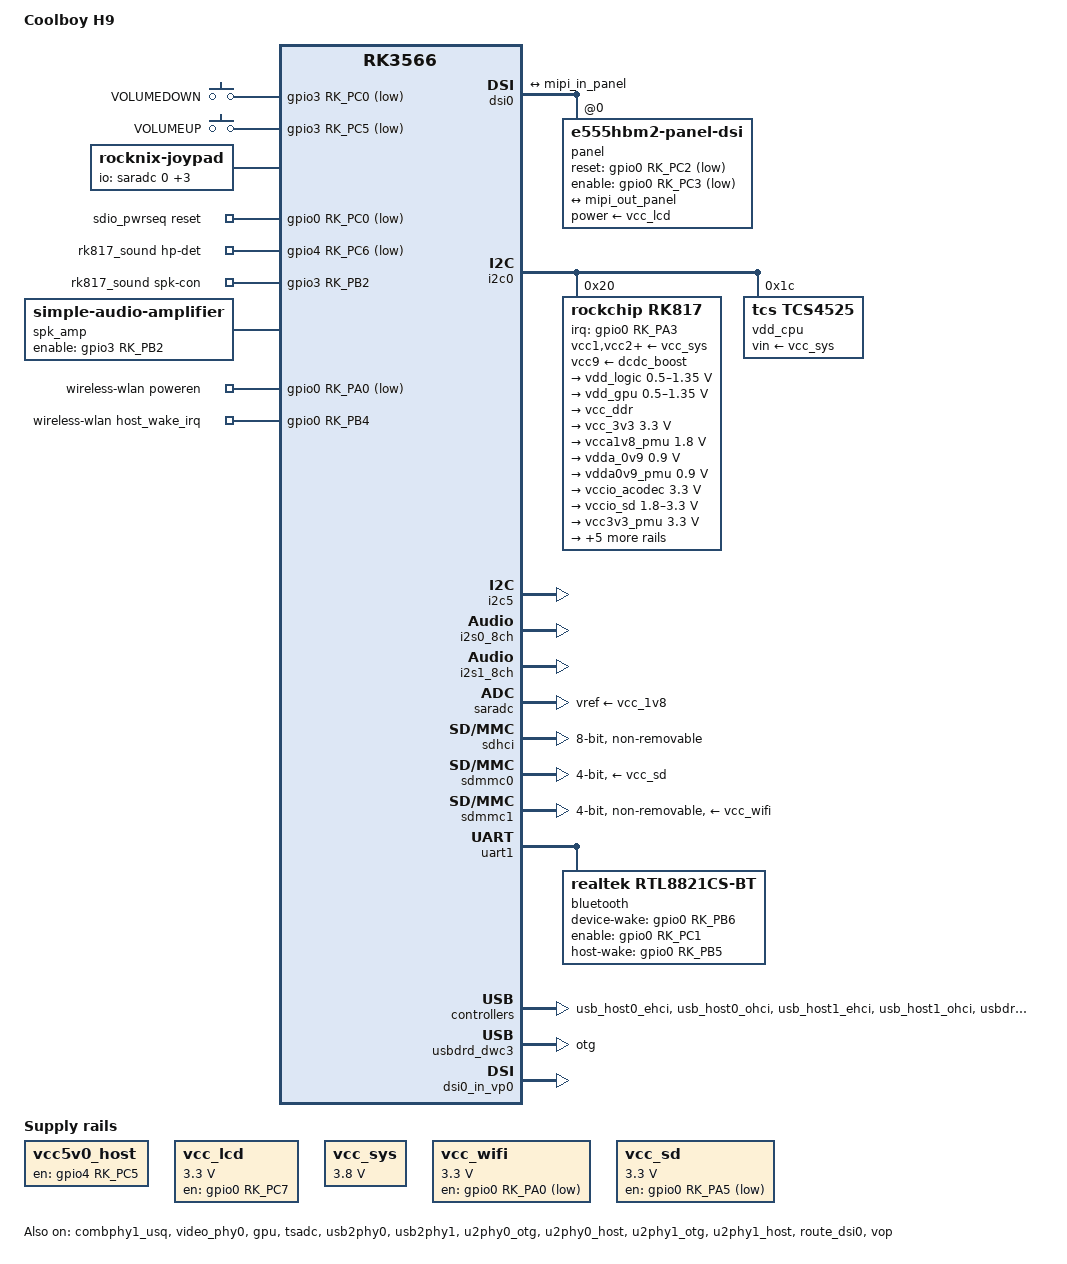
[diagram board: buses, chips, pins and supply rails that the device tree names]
// SPDX-License-Identifier: (GPL-2.0+ OR MIT)

/dts-v1/;

#include <dt-bindings/gpio/gpio.h>
#include <dt-bindings/input/input.h>
#include <dt-bindings/pinctrl/rockchip.h>
#include <dt-bindings/display/drm_mipi_dsi.h>
#include "rk3566.dtsi"
#include "rk3568-linux.dtsi"

/ {
	model = "Coolboy H9";
	compatible = "coolboy,h9", "rockchip,rk3566";

	aliases {
		mmc0 = &sdmmc0;
		mmc1 = &sdmmc1;
		mmc2 = &sdhci;
		mmc3 = &sdmmc2;
	};

	chosen: chosen {
		stdout-path = "serial2:1500000n8";
	};

	gpio_keys_vol: gpio-keys-vol {
		compatible = "gpio-keys";
		autorepeat;
		pinctrl-0 = <&btn_pins_vol>;
		pinctrl-names = "default";

		button-voldown {
			gpios = <&gpio3 RK_PC0 GPIO_ACTIVE_LOW>;
			label = "VOLUMEDOWN";
			linux,code = <KEY_VOLUMEDOWN>;
		};

		button-volup {
			gpios = <&gpio3 RK_PC5 GPIO_ACTIVE_LOW>;
			label = "VOLUMEUP";
			linux,code = <KEY_VOLUMEUP>;
		};
	};

	hdmi_sound: hdmi-sound {
		compatible = "simple-audio-card";
		simple-audio-card,format = "i2s";
		simple-audio-card,mclk-fs = <128>;
		simple-audio-card,name = "rockchip,hdmi";
		status = "okay";

		simple-audio-card,cpu {
			sound-dai = <&i2s0_8ch>;
		};

		simple-audio-card,codec {
			sound-dai = <&hdmi>;
		};
	};

	joypad: rocknix-joypad {
		compatible = "rocknix-joypad";
		status = "okay";

		/* the following 4 dts entries starting from joypad-name are important to keep
		   compatibility with existing userspace programs such as ES and retroarch */
		joypad-name = "retrogame_joypad";
		joypad-product = <0x1101>;
		joypad-revision = <0x0100>;
		joypad-vendor = <0x484B>;

		/* analog mux define (swap ADC ch within each stick for X/Y) */
		io-channel-names = "key-RY", "key-RX", "key-LY", "key-LX";
		io-channels = <&saradc 0>, <&saradc 1>, <&saradc 2>, <&saradc 3>;

		/* gpio pincontrol setup */
		pinctrl-names = "default";
		pinctrl-0 = <&btn_pins_ctrl>;

		/* adc calculate scale */
		button-adc-scale = <2>;

		/* adc deadzone range (minimum should be around 12%) */
		button-adc-deadzone = <216>;

		/* specifies fuzz value that is used to filter noise from
		   the event stream. (around 3%) */
		button-adc-fuzz = <54>;
		button-adc-flat = <54>;

		/* analog Stick data tuning value(precent)
		   p = positive direction, n = negative direction
		   report value = (real_adc_data * tuning_value) / 100 */
		abs_x-p-tuning = <180>;
		abs_x-n-tuning = <180>;

		abs_y-p-tuning = <180>;
		abs_y-n-tuning = <180>;

		abs_rx-p-tuning = <180>;
		abs_rx-n-tuning = <180>;

		abs_ry-p-tuning = <180>;
		abs_ry-n-tuning = <180>;

		/* invert all axes except right-stick Y */
		invert-absx;
		invert-absy;
		invert-absrx;

		/* poll device interval (ms), adc read interval */
		poll-interval = <10>;

		/* gpio button auto repeat set value : default disable */
		/* autorepeat; */

		/*    *** Powkiddy X55 Switch layout ***
		|------------------------------------------------|
		| sw15                                      sw13 |
		| sw16                                      sw14 |
		|------------------------------------------------|
		|                                                |
		|   Analog     |-------------------|             |
		|    sw11      |                   |      sw8    |
		|              |                   |   sw7   sw5 |
		|              |    LCD Display    |      sw6    |
		|     sw1      |                   |             |
		|  sw3  sw4    |                   |    Analog   |
		|     sw2      |-------------------|     sw12    |
		|                                                |
		| sw9 Vol+                           Vol- sw10   |
		|                                                |
		|------------------------------------------------| */

		sw1 {
			gpios = <&gpio3 RK_PD4 GPIO_ACTIVE_LOW>;
			label = "GPIO DPAD-UP";
			linux,code = <BTN_DPAD_UP>;
		};
		sw2 {
			gpios = <&gpio3 RK_PD5 GPIO_ACTIVE_LOW>;
			label = "GPIO DPAD-DOWN";
			linux,code = <BTN_DPAD_DOWN>;
		};
		sw3 {
			gpios = <&gpio3 RK_PD6 GPIO_ACTIVE_LOW>;
			label = "GPIO DPAD-LEFT";
			linux,code = <BTN_DPAD_LEFT>;
		};
		sw4 {
			gpios = <&gpio3 RK_PD7 GPIO_ACTIVE_LOW>;
			label = "GPIO DPAD-RIGHT";
			linux,code = <BTN_DPAD_RIGHT>;
		};
		sw5 {
			gpios = <&gpio3 RK_PD2 GPIO_ACTIVE_LOW>;
			label = "GPIO BTN-A";
			linux,code = <BTN_SOUTH>;
		};
		sw6 {
			gpios = <&gpio3 RK_PD0 GPIO_ACTIVE_LOW>;
			label = "GPIO BTN-B";
			linux,code = <BTN_EAST>;
		};
		sw7 {
			gpios = <&gpio3 RK_PD3 GPIO_ACTIVE_LOW>;
			label = "GPIO BTN-Y";
			linux,code = <BTN_WEST>;
		};
		sw8 {
			gpios = <&gpio3 RK_PD1 GPIO_ACTIVE_LOW>;
			label = "GPIO BTN-X";
			linux,code = <BTN_NORTH>;
		};
		sw9 {
			gpios = <&gpio3 RK_PC3 GPIO_ACTIVE_LOW>;
			label = "BTN_SELECT";
			linux,code = <BTN_SELECT>;
		};
		sw10 {
			gpios = <&gpio3 RK_PC4 GPIO_ACTIVE_LOW>;
			label = "BTN_START";
			linux,code = <BTN_START>;
		};
		sw11 {
			gpios = <&gpio3 RK_PC1 GPIO_ACTIVE_LOW>;
			label = "GPIO BTN_F";
			linux,code = <BTN_MODE>;
		};
		sw12 {
			gpios = <&gpio3 RK_PC6 GPIO_ACTIVE_LOW>;
			label = "BTN_THUMBL";
			linux,code = <BTN_THUMBL>;
		};
		sw13 {
			gpios = <&gpio3 RK_PB7 GPIO_ACTIVE_LOW>;
			label = "BTN_THUMBR";
			linux,code = <BTN_THUMBR>;
		};
		sw14 {
			gpios = <&gpio4 RK_PA5 GPIO_ACTIVE_LOW>;
			label = "GPIO BTN_TR";
			linux,code = <BTN_TR>;
		};
		sw15 {
			gpios = <&gpio4 RK_PA6 GPIO_ACTIVE_LOW>;
			label = "GPIO BTN_TR2";
			linux,code = <BTN_TR2>;
		};
		sw16 {
			gpios = <&gpio4 RK_PA0 GPIO_ACTIVE_LOW>;
			label = "GPIO BTN_TL";
			linux,code = <BTN_TL>;
		};
		sw17 {
			gpios = <&gpio4 RK_PA3 GPIO_ACTIVE_LOW>;
			label = "GPIO BTN_TL2";
			linux,code = <BTN_TL2>;
		};
		/* vendor key-esc / Back */
		sw18 {
			gpios = <&gpio3 RK_PC2 GPIO_ACTIVE_LOW>;
			label = "GPIO BTN_TRIGGER_HAPPY1";
			linux,code = <BTN_TRIGGER_HAPPY1>;
		};
	};

	sdio_pwrseq: sdio-pwrseq {
		compatible = "mmc-pwrseq-simple";
		clocks = <&rk817 1>;
		clock-names = "ext_clock";
		pinctrl-0 = <&wifi_enable_h>;
		pinctrl-names = "default";
		post-power-on-delay-ms = <200>;
		reset-gpios = <&gpio0 RK_PC0 GPIO_ACTIVE_LOW>;
	};

	rk817_sound: rk817-sound {
		status = "okay";
		compatible = "rockchip,multicodecs-card";
		rockchip,card-name = "rockchip-rk817";
		rockchip,format = "i2s";
		rockchip,mclk-fs = <256>;
		rockchip,cpu = <&i2s1_8ch>;
		rockchip,codec = <&rk817_codec>;
		/* cbh9 rk-headset: gpio4 PC6 ACTIVE_LOW (same pin as E5P/E6P) */
		hp-det-gpio = <&gpio4 RK_PC6 GPIO_ACTIVE_LOW>;
		spk-con-gpios = <&gpio3 RK_PB2 GPIO_ACTIVE_HIGH>;
		pinctrl-names = "default";
		pinctrl-0 = <&hp_det &spk_amp_enable_h>;
		rockchip,audio-routing =
			"Headphone", "HPOL",
			"Headphone", "HPOR",
			"Speaker", "HPOL",
			"Speaker", "HPOR";
	};

	spk_amp: audio-amplifier {
		compatible = "simple-audio-amplifier";
		enable-gpios = <&gpio3 RK_PB2 GPIO_ACTIVE_HIGH>;
		pinctrl-0 = <&spk_amp_enable_h>;
		pinctrl-names = "default";
		sound-name-prefix = "Speaker Amp";
	};

	vcc5v0_host: regulator-vcc5v0-host {
		compatible = "regulator-fixed";
		enable-active-high;
		regulator-always-on;
		gpio = <&gpio4 RK_PC5 GPIO_ACTIVE_HIGH>;
		pinctrl-0 = <&vcc5v0_host_en>;
		pinctrl-names = "default";
		regulator-name = "vcc5v0_host";
	};

	vcc_lcd: regulator-vcc-lcd {
		compatible = "regulator-fixed";
		enable-active-high;
		regulator-boot-on;
		gpio = <&gpio0 RK_PC7 GPIO_ACTIVE_HIGH>;
		pinctrl-0 = <&vcc_lcd_en>;
		pinctrl-names = "default";
		regulator-min-microvolt = <3300000>;
		regulator-max-microvolt = <3300000>;
		regulator-name = "vcc_lcd";
	};

	vcc_sys: regulator-vcc-sys {
		compatible = "regulator-fixed";
		regulator-always-on;
		regulator-boot-on;
		regulator-min-microvolt = <3800000>;
		regulator-max-microvolt = <3800000>;
		regulator-name = "vcc_sys";
	};

	vcc_wifi: regulator-vcc-wifi {
		compatible = "regulator-fixed";
		enable-active-low;
		regulator-boot-on;
		gpio = <&gpio0 RK_PA0 GPIO_ACTIVE_LOW>;
		pinctrl-0 = <&vcc_wifi_h>;
		pinctrl-names = "default";
		regulator-min-microvolt = <3300000>;
		regulator-max-microvolt = <3300000>;
		regulator-name = "vcc_wifi";
	};

	wireless-wlan {
		compatible = "wlan-platdata";
		rockchip,grf = <&grf>;
		wifi_chip_type = "rkwifi";
		pinctrl-names = "default";
		pinctrl-0 = <&wifi_host_wake_irq>;
		WIFI,poweren_gpio = <&gpio0 RK_PA0 GPIO_ACTIVE_LOW>;
		WIFI,host_wake_irq = <&gpio0 RK_PB4 GPIO_ACTIVE_HIGH>;
		status = "okay";
	};

	vcc_sd: vcc-sd {
		compatible = "regulator-fixed";
		enable-active-low;
		regulator-always-on;
		gpio = <&gpio0 RK_PA5 GPIO_ACTIVE_LOW>;
		pinctrl-0 = <&vcc_sd_h>;
		pinctrl-names = "default";
		regulator-min-microvolt = <3300000>;
		regulator-max-microvolt = <3300000>;
		regulator-name = "vcc_sd";
	};
};

&combphy1_usq {
	status = "okay";
};

&cru {
	assigned-clocks = <&pmucru CLK_RTC_32K>, <&cru PLL_GPLL>,
			  <&pmucru PLL_PPLL>, <&cru PLL_VPLL>;
	assigned-clock-rates = <32768>, <1200000000>,
			       <200000000>, <101703600>;
};

&cpu0 {
	cpu-supply = <&vdd_cpu>;
};

&cpu1 {
	cpu-supply = <&vdd_cpu>;
};

&cpu2 {
	cpu-supply = <&vdd_cpu>;
};

&cpu3 {
	cpu-supply = <&vdd_cpu>;
};

&video_phy0 {
	status = "okay";
};

&dsi0 {
	status = "okay";

	panel: panel@0 {
		compatible = "e555hbm2-panel-dsi", "e555hbm2-dsi";
		reg = <0>;
		power-supply = <&vcc_lcd>;
		/*
		 * Reset is electrically active-low (idle high). Keep U-Boot logical
		 * dance 0/1/0/1 in the driver; panel-e555hbm2 maps through
		 * gpiod so ACTIVE_LOW still yields phys 0→1→0→1 ending HIGH.
		 */
		reset-gpios = <&gpio0 RK_PC2 GPIO_ACTIVE_LOW>;
		/*
		 * Polarity probe: vendor DT flag 0 (= ACTIVE_HIGH). Try ACTIVE_LOW
		 * here — prepare asserts enable (logical 1 → phys LOW).
		 */
		enable-gpios = <&gpio0 RK_PC3 GPIO_ACTIVE_LOW>;
		pinctrl-names = "default";
		pinctrl-0 = <&lcd_enable_gpio &lcd_rst_gpio>;
		prepare-delay-ms = <60>;
		reset-delay-ms = <60>;
		init-delay-ms = <120>;
		enable-delay-ms = <60>;
		disable-delay-ms = <60>;
		unprepare-delay-ms = <60>;
		/* Native panel is 720x1280; device used landscape like x55 */
		rotation = <270>;
		/* BURST: synopsys dw-mipi-dsi burst packet path */
		dsi,flags = <0xa03>;
		dsi,format = <0>;
		dsi,lanes = <4>;
		/*
		 * Keep HS clock request while sending LPM cmds in video mode
		 * (vendor 4.19 behaviour). Without this, backlight F0/C1 blanks
		 * the OLED on ROCKNIX 5.10 dw-mipi-dsi.
		 */
		rockchip,dsi-keep-hs-clk-on-lpm;
		panel-init-sequence = [
			39 20 06 f0 55 aa 52 08 00 39 20 05 b0 0f 0f 1e
			14 15 20 02 b2 00 15 20 02 b6 03 39 20 15 c0 00
			00 00 00 00 00 00 00 00 00 00 00 0a 0b 0c 0d 00
			00 00 00 39 20 11 c1 08 24 24 01 18 24 9f 85 08
			24 24 01 18 24 9f 85 39 20 19 c2 03 05 1b 24 13
			31 01 05 1b 24 13 31 03 05 1b 38 00 11 02 05 1b
			38 00 11 39 20 19 c3 02 05 1b 24 13 11 03 05 1b
			24 13 11 03 05 1b 38 00 11 02 05 1b 38 00 11 39
			20 06 f0 55 aa 52 08 01 15 20 02 b7 04 15 20 02
			b8 05 15 20 02 b9 04 15 20 02 ba 14 39 20 04 c2
			02 f5 0f 39 20 06 f0 55 aa 52 08 02 15 20 02 c9
			1e 39 20 04 d4 02 04 2c 39 20 24 e1 00 91 ae cb
			e6 54 ff 1e 33 43 55 4f 66 78 8b 55 9d ac c0 cf
			55 e0 e8 f2 fb aa 03 0d 15 1f aa 27 2c 31 34 39
			20 24 e2 00 ad c6 e4 fd 55 11 2a 3b 49 55 54 6b
			7c 8f 55 a1 af c3 d1 55 e2 ea f3 fc aa 04 0e 15
			20 aa 28 2d 32 35 39 20 24 e3 55 05 1e 37 4b 55
			5a 64 72 7f 55 8b a3 b8 d1 a5 e4 f6 0e 23 aa 39
			42 4f 59 aa 64 70 7a 86 aa 90 96 9c 9f 39 20 07
			8f 5a 96 3c c3 a5 69 15 20 02 89 00 39 20 04 8c
			55 41 53 39 30 03 c1 00 00 15 20 02 9a 5a 15 20
			02 35 00 05 8c 01 11 05 3c 01 29
		];
		/* Backlight: driver gamma→C1 (F0 unlock + C1), not DT seq */

		display-timings {
			native-mode = <&panel_timing>;
			panel_timing: timing0 {
				/* Known-good on H9: 774*1314*55 = 55938780 */
				clock-frequency = <55938780>;
				hactive = <720>;
				vactive = <1280>;
				hfront-porch = <20>;
				hsync-len = <4>;
				hback-porch = <30>;
				vfront-porch = <15>;
				vsync-len = <4>;
				vback-porch = <15>;
				hsync-active = <0>;
				vsync-active = <0>;
				de-active = <0>;
				pixelclk-active = <0>;
			};
		};
		ports {
			#address-cells = <1>;
			#size-cells = <0>;

			port@0 {
				reg = <0>;
				mipi_in_panel: endpoint {
					remote-endpoint = <&mipi_out_panel>;
				};
			};
		};
	};

	ports {
		#address-cells = <1>;
		#size-cells = <0>;

		port@1 {
			reg = <1>;
			mipi_out_panel: endpoint {
				remote-endpoint = <&mipi_in_panel>;
			};
		};
	};
};

&gpu {
	mali-supply = <&vdd_gpu>;
	status = "okay";
	operating-points-v2 = <&gpu_opp_table>;
};

&hdmi {
	status = "okay";
};

&hdmi_sound {
	status = "okay";
};

&i2c0 {
	status = "okay";

	rk817: pmic@20 {
		compatible = "rockchip,rk817";
		reg = <0x20>;
		clock-output-names = "rk808-clkout1", "rk808-clkout2";
		interrupt-parent = <&gpio0>;
		interrupts = <RK_PA3 IRQ_TYPE_LEVEL_LOW>;
		pinctrl-names = "default", "pmic-sleep",
				"pmic-power-off", "pmic-reset";
		pinctrl-0 = <&pmic_int_l>;
		pinctrl-1 = <&soc_slppin_slp>, <&rk817_slppin_slp>;
		pinctrl-2 = <&soc_slppin_gpio>, <&rk817_slppin_pwrdn>;
		pinctrl-3 = <&soc_slppin_gpio>, <&rk817_slppin_rst>;
		rockchip,system-power-controller;
		wakeup-source;
		#clock-cells = <1>;
		/* 1: rst regs (default in codes), 0: rst the pmic */
		pmic-reset-func = <0>;
		/* not save the PMIC_POWER_EN register in uboot */
		not-save-power-en = <1>;

		vcc1-supply = <&vcc_sys>;
		vcc2-supply = <&vcc_sys>;
		vcc3-supply = <&vcc_sys>;
		vcc4-supply = <&vcc_sys>;
		vcc5-supply = <&vcc_sys>;
		vcc6-supply = <&vcc_sys>;
		vcc7-supply = <&vcc_sys>;
		vcc8-supply = <&vcc_sys>;
		vcc9-supply = <&dcdc_boost>;

		pwrkey {
			status = "okay";
		};

		pinctrl_rk8xx: pinctrl_rk8xx {
			gpio-controller;
			#gpio-cells = <2>;

			rk817_slppin_null: rk817_slppin_null {
				pins = "gpio_slp";
				function = "pin_fun0";
			};

			rk817_slppin_slp: rk817_slppin_slp {
				pins = "gpio_slp";
				function = "pin_fun1";
			};

			rk817_slppin_pwrdn: rk817_slppin_pwrdn {
				pins = "gpio_slp";
				function = "pin_fun2";
			};

			rk817_slppin_rst: rk817_slppin_rst {
				pins = "gpio_slp";
				function = "pin_fun3";
			};
		};

		regulators {
			vdd_logic: DCDC_REG1 {
				regulator-always-on;
				regulator-boot-on;
				regulator-min-microvolt = <500000>;
				regulator-max-microvolt = <1350000>;
				regulator-ramp-delay = <6001>;
				regulator-initial-mode = <0x2>;
				regulator-name = "vdd_logic";
				regulator-state-mem {
					regulator-off-in-suspend;
					regulator-suspend-microvolt = <900000>;
				};
			};

			vdd_gpu: DCDC_REG2 {
				regulator-always-on;
				regulator-boot-on;
				regulator-min-microvolt = <500000>;
				regulator-max-microvolt = <1350000>;
				regulator-init-microvolt = <900000>;
				regulator-ramp-delay = <6001>;
				regulator-initial-mode = <0x2>;
				regulator-name = "vdd_gpu";
				regulator-state-mem {
					regulator-off-in-suspend;
				};
			};

			vcc_ddr: DCDC_REG3 {
				regulator-always-on;
				regulator-boot-on;
				regulator-initial-mode = <0x2>;
				regulator-name = "vcc_ddr";
				regulator-state-mem {
					regulator-on-in-suspend;
				};
			};

			vcc_3v3: DCDC_REG4 {
				regulator-always-on;
				regulator-boot-on;
				regulator-min-microvolt = <3300000>;
				regulator-max-microvolt = <3300000>;
				regulator-initial-mode = <0x2>;
				regulator-name = "vcc_3v3";
				regulator-state-mem {
					regulator-on-in-suspend;
					regulator-suspend-microvolt = <3300000>;
				};
			};

			vcca1v8_pmu: LDO_REG1 {
				regulator-always-on;
				regulator-boot-on;
				regulator-min-microvolt = <1800000>;
				regulator-max-microvolt = <1800000>;
				regulator-name = "vcca1v8_pmu";
				regulator-state-mem {
					regulator-on-in-suspend;
					regulator-suspend-microvolt = <1800000>;
				};
			};

			vdda_0v9: LDO_REG2 {
				regulator-always-on;
				regulator-boot-on;
				regulator-min-microvolt = <900000>;
				regulator-max-microvolt = <900000>;
				regulator-name = "vdda_0v9";
				regulator-state-mem {
					regulator-off-in-suspend;
				};
			};

			vdda0v9_pmu: LDO_REG3 {
				regulator-always-on;
				regulator-boot-on;
				regulator-min-microvolt = <900000>;
				regulator-max-microvolt = <900000>;
				regulator-name = "vdda0v9_pmu";
				regulator-state-mem {
					regulator-on-in-suspend;
					regulator-suspend-microvolt = <900000>;
				};
			};

			vccio_acodec: LDO_REG4 {
				regulator-always-on;
				regulator-boot-on;
				regulator-min-microvolt = <3300000>;
				regulator-max-microvolt = <3300000>;
				regulator-name = "vccio_acodec";
				regulator-state-mem {
					regulator-off-in-suspend;
				};
			};

			vccio_sd: LDO_REG5 {
				regulator-always-on;
				regulator-boot-on;
				regulator-min-microvolt = <1800000>;
				regulator-max-microvolt = <3300000>;
				regulator-name = "vccio_sd";
				regulator-state-mem {
					regulator-off-in-suspend;
				};
			};

			vcc3v3_pmu: LDO_REG6 {
				regulator-always-on;
				regulator-boot-on;
				regulator-min-microvolt = <3300000>;
				regulator-max-microvolt = <3300000>;
				regulator-name = "vcc3v3_pmu";
				regulator-state-mem {
					regulator-on-in-suspend;
					regulator-suspend-microvolt = <3300000>;
				};
			};

			vcc_1v8: LDO_REG7 {
				regulator-always-on;
				regulator-boot-on;
				regulator-min-microvolt = <1800000>;
				regulator-max-microvolt = <1800000>;
				regulator-name = "vcc_1v8";
				regulator-state-mem {
					regulator-off-in-suspend;
				};
			};

			vcc1v8_dvp: LDO_REG8 {
				regulator-always-on;
				regulator-boot-on;
				regulator-min-microvolt = <1800000>;
				regulator-max-microvolt = <1800000>;
				regulator-name = "vcc1v8_dvp";
				regulator-state-mem {
					regulator-on-in-suspend;
				};
			};

			vcc2v8_dvp: LDO_REG9 {
				regulator-always-on;
				regulator-boot-on;
				regulator-min-microvolt = <2800000>;
				regulator-max-microvolt = <2800000>;
				regulator-name = "vcc2v8_dvp";
				regulator-state-mem {
					regulator-off-in-suspend;
				};
			};

			dcdc_boost: BOOST {
				regulator-always-on;
				regulator-boot-on;
				regulator-min-microvolt = <5000000>;
				regulator-max-microvolt = <5000000>;
				regulator-name = "boost";
				regulator-state-mem {
					regulator-off-in-suspend;
				};
			};

			otg_switch: OTG_SWITCH {
				regulator-name = "otg_switch";
				regulator-state-mem {
					regulator-off-in-suspend;
				};
			};
		};

		battery {
			compatible = "rk817,battery";
			ocv_table = <3400 3513 3578 3687 3734 3752 3763 3766 3771
				     3784 3804 3836 3885 3925 3962 4005 4063 4114
				     4169 4227 4303>;
			design_capacity = <3600>;
			design_qmax = <4000>;
			bat_res = <100>;
			sleep_enter_current = <150>;
			sleep_exit_current = <180>;
			sleep_filter_current = <100>;
			power_off_thresd = <3350>;
			zero_algorithm_vol = <3850>;
			max_soc_offset = <60>;
			monitor_sec = <5>;
			sample_res = <10>;
			virtual_power = <0>;
		};

		rk817_charger: charger {
			compatible = "rk817,charger";
			min_input_voltage = <4500>;
			max_input_current = <1500>;
			max_chrg_current = <2000>;
			max_chrg_voltage = <4300>;
			chrg_term_mode = <0>;
			chrg_finish_cur = <300>;
			virtual_power = <0>;
			dc_det_adc = <0>;
			otg5v_suspend_enable = <1>;
			extcon = <&usb2phy0>;
		};

		rk817_codec: codec {
			compatible = "rockchip,rk817-codec";
			#sound-dai-cells = <0>;
			clocks = <&cru I2S1_MCLKOUT>;
			clock-names = "mclk";
			assigned-clocks = <&cru I2S1_MCLKOUT>,
					  <&cru I2S1_MCLK_TX_IOE>;
			assigned-clock-rates = <12288000>;
			assigned-clock-parents = <&cru I2S1_MCLKOUT_TX>,
						 <&cru I2S1_MCLKOUT_TX>;
			pinctrl-names = "default";
			pinctrl-0 = <&i2s1m0_mclk>;
			hp-volume = <20>;
			spk-volume = <2>;
			out-l2spk-r2hp;
			status = "okay";
		};

	};

	vdd_cpu: regulator@1c {
		compatible = "tcs,tcs4525";
		reg = <0x1c>;
		fcs,suspend-voltage-selector = <1>;
		regulator-always-on;
		regulator-boot-on;
		regulator-min-microvolt = <712500>;
		regulator-max-microvolt = <1390000>;
		regulator-name = "vdd_cpu";
		regulator-ramp-delay = <2300>;
		vin-supply = <&vcc_sys>;
		regulator-state-mem {
			regulator-off-in-suspend;
		};
	};
};

&i2c5 {
	pinctrl-0 = <&i2c5m1_xfer>;
	pinctrl-names = "default";
	status = "okay";
};

&i2s0_8ch {
	status = "okay";
};

&i2s1_8ch {
	pinctrl-0 = <&i2s1m0_sclktx>, <&i2s1m0_lrcktx>, <&i2s1m0_sdi0>,
		    <&i2s1m0_sdo0>;
	pinctrl-names = "default";
	rockchip,clk-trcm = <1>;
	status = "okay";
};

&pinctrl {
	audio-amplifier {
		spk_amp_enable_h: spk-amp-enable-h {
			rockchip,pins =
				<3 RK_PB2 RK_FUNC_GPIO &pcfg_pull_none>;
		};
	};

	hp-detect {
		hp_det: hp-det {
			rockchip,pins =
				<4 RK_PC6 RK_FUNC_GPIO &pcfg_pull_up>;
		};
	};

	gpio-control {
		btn_pins_ctrl: btn-pins-ctrl {
			rockchip,pins =
				<3 RK_PB7 RK_FUNC_GPIO &pcfg_pull_up>,
				<3 RK_PC1 RK_FUNC_GPIO &pcfg_pull_up>,
				<3 RK_PC2 RK_FUNC_GPIO &pcfg_pull_up>,
				<3 RK_PC3 RK_FUNC_GPIO &pcfg_pull_up>,
				<3 RK_PC4 RK_FUNC_GPIO &pcfg_pull_up>,
				<3 RK_PC6 RK_FUNC_GPIO &pcfg_pull_up>,
				<3 RK_PD0 RK_FUNC_GPIO &pcfg_pull_up>,
				<3 RK_PD1 RK_FUNC_GPIO &pcfg_pull_up>,
				<3 RK_PD2 RK_FUNC_GPIO &pcfg_pull_up>,
				<3 RK_PD3 RK_FUNC_GPIO &pcfg_pull_up>,
				<3 RK_PD4 RK_FUNC_GPIO &pcfg_pull_up>,
				<3 RK_PD5 RK_FUNC_GPIO &pcfg_pull_up>,
				<3 RK_PD6 RK_FUNC_GPIO &pcfg_pull_up>,
				<3 RK_PD7 RK_FUNC_GPIO &pcfg_pull_up>,
				<4 RK_PA0 RK_FUNC_GPIO &pcfg_pull_up>,
				<4 RK_PA3 RK_FUNC_GPIO &pcfg_pull_up>,
				<4 RK_PA5 RK_FUNC_GPIO &pcfg_pull_up>,
				<4 RK_PA6 RK_FUNC_GPIO &pcfg_pull_up>;
		};

		btn_pins_vol: btn-pins-vol {
			rockchip,pins =
				<3 RK_PC0 RK_FUNC_GPIO &pcfg_pull_up>,
				<3 RK_PC5 RK_FUNC_GPIO &pcfg_pull_up>;
		};
	};

	lcd {
		/* cbh9: enable = gpio0 PC3 (named lcd-bl-pwm-gpio there) */
		lcd_enable_gpio: lcd-enable-gpio {
			rockchip,pins =
				<0 RK_PC3 RK_FUNC_GPIO &pcfg_pull_none>;
		};

		/* cbh9: reset = gpio0 PC2 */
		lcd_rst_gpio: lcd-rst-gpio {
			rockchip,pins =
				<0 RK_PC2 RK_FUNC_GPIO &pcfg_pull_none>;
		};
	};

	pmic {
		pmic_int_l: pmic-int-l {
			rockchip,pins =
				<0 RK_PA3 RK_FUNC_GPIO &pcfg_pull_up>;
		};

		soc_slppin_gpio: soc_slppin_gpio {
			rockchip,pins =
				<0 RK_PA2 RK_FUNC_GPIO &pcfg_output_low>;
		};

		soc_slppin_slp: soc_slppin_slp {
			rockchip,pins =
				<0 RK_PA2 1 &pcfg_pull_up>;
		};

		soc_slppin_rst: soc_slppin_rst {
			rockchip,pins =
				<0 RK_PA2 2 &pcfg_pull_none>;
		};
	};

	sdio-pwrseq {
		wifi_enable_h: wifi-enable-h {
			rockchip,pins =
				<0 RK_PC0 RK_FUNC_GPIO &pcfg_pull_none>;
		};
	};

	usb {
		vcc5v0_host_en: vcc5v0-host-en {
			rockchip,pins =
				<4 RK_PC5 RK_FUNC_GPIO &pcfg_pull_none>;
		};
	};

	vcc-lcd {
		vcc_lcd_en: vcc-lcd-en {
			rockchip,pins =
				<0 RK_PC7 RK_FUNC_GPIO &pcfg_pull_none>;
		};
	};

	vcc-wifi {
		vcc_wifi_h: vcc-wifi-h {
			rockchip,pins =
				<0 RK_PA0 RK_FUNC_GPIO &pcfg_pull_none>;
		};
	};

	wireless-wlan {
		wifi_host_wake_irq: wifi-host-wake-irq {
			rockchip,pins =
				<0 RK_PB4 RK_FUNC_GPIO &pcfg_pull_none>;
		};
	};

	vcc_sd {
		vcc_sd_h: vcc-sd-h {
			rockchip,pins =
				<0 RK_PA5 RK_FUNC_GPIO &pcfg_pull_none>;
		};
	};
};

&pmu_io_domains {
	status = "okay";
	pmuio1-supply = <&vcc3v3_pmu>;
	pmuio2-supply = <&vcc_1v8>;
	vccio1-supply = <&vccio_acodec>;
	vccio3-supply = <&vccio_sd>;
	vccio4-supply = <&vcc_1v8>;
	vccio5-supply = <&vcc_3v3>;
	vccio6-supply = <&vcc1v8_dvp>;
	vccio7-supply = <&vcc_3v3>;
};

&pwm4 {
	status = "disabled";
};

&saradc {
	vref-supply = <&vcc_1v8>;
	status = "okay";
};

&sdhci {
	bus-width = <8>;
	non-removable;
	status = "okay";
};

&sdmmc0 {
	bus-width = <4>;
	cap-mmc-highspeed;
	cap-sd-highspeed;
	disable-wp;
	pinctrl-0 = <&sdmmc0_bus4>, <&sdmmc0_clk>, <&sdmmc0_cmd>,
		    <&sdmmc0_det>;
	pinctrl-names = "default";
	sd-uhs-sdr12;
	sd-uhs-sdr25;
	sd-uhs-sdr50;
	sd-uhs-sdr104;
	vmmc-supply = <&vcc_sd>;
	vqmmc-supply = <&vccio_sd>;
	status = "okay";
};

&sdmmc1 {
	bus-width = <4>;
	cap-sd-highspeed;
	cap-sdio-irq;
	disable-wp;
	keep-power-in-suspend;
	mmc-pwrseq = <&sdio_pwrseq>;
	no-mmc;
	no-sd;
	non-removable;
	pinctrl-0 = <&sdmmc1_bus4>, <&sdmmc1_cmd>, <&sdmmc1_clk>;
	pinctrl-names = "default";
	supports-sdio;
	vmmc-supply = <&vcc_wifi>;
	sd-uhs-sdr104;
	rockchip,default-sample-phase = <90>;
	status = "okay";
};

&sdmmc2 {
	status = "disabled";
};

&tsadc {
	rockchip,hw-tshut-mode = <1>;
	rockchip,hw-tshut-polarity = <0>;
	status = "okay";
};

&uart1 {
	pinctrl-0 = <&uart1m0_xfer>, <&uart1m0_ctsn>, <&uart1m0_rtsn>;
	pinctrl-names = "default";
	uart-has-rtscts;
	status = "okay";

	bluetooth {
		compatible = "realtek,rtl8821cs-bt", "realtek,rtl8723bs-bt";
		device-wake-gpios = <&gpio0 RK_PB6 GPIO_ACTIVE_HIGH>;
		enable-gpios = <&gpio0 RK_PC1 GPIO_ACTIVE_HIGH>;
		host-wake-gpios = <&gpio0 RK_PB5 GPIO_ACTIVE_HIGH>;
	};
};

&uart2 {
	status = "disabled";
};

&usb2phy0 {
	status = "okay";
};

&usb2phy1 {
	status = "okay";
};

&u2phy0_otg {
	status = "okay";
};

&u2phy0_host {
	phy-supply = <&vcc5v0_host>;
	status = "okay";
};

&u2phy1_otg {
	status = "okay";
};

&u2phy1_host {
	status = "okay";
};

&usb_host0_ehci {
	status = "okay";
};

&usb_host0_ohci {
	status = "okay";
};

&usb_host1_ehci {
	status = "okay";
};

&usb_host1_ohci {
	status = "okay";
};

&usbdrd_dwc3 {
	dr_mode = "otg";
	extcon = <&usb2phy0>;
	status = "okay";
};

&usbdrd30 {
	status = "okay";
};

&usbhost_dwc3 {
	status = "disabled";
};

&usbhost30 {
	status = "disabled";
};


&dsi0_in_vp0 {
	status = "okay";
};

&dsi0_in_vp1 {
	status = "disabled";
};

&route_dsi0 {
	status = "okay";
	connect = <&vp0_out_dsi0>;
	/* Match vendor cbh9 logo,rotation = 0x10e (270°) */
	logo,rotation = <270>;
};

&hdmi_in_vp0 {
	status = "disabled";
};

&hdmi_in_vp1 {
	status = "disabled";
};

&route_hdmi {
	status = "disabled";
};

&hdmi {
	status = "disabled";
};

&vop {
	assigned-clocks = <&cru DCLK_VOP0>, <&cru DCLK_VOP1>;
	assigned-clock-parents = <&pmucru PLL_HPLL>, <&cru PLL_VPLL>;
	status = "okay";
};

&vop_mmu {
	status = "okay";
};


